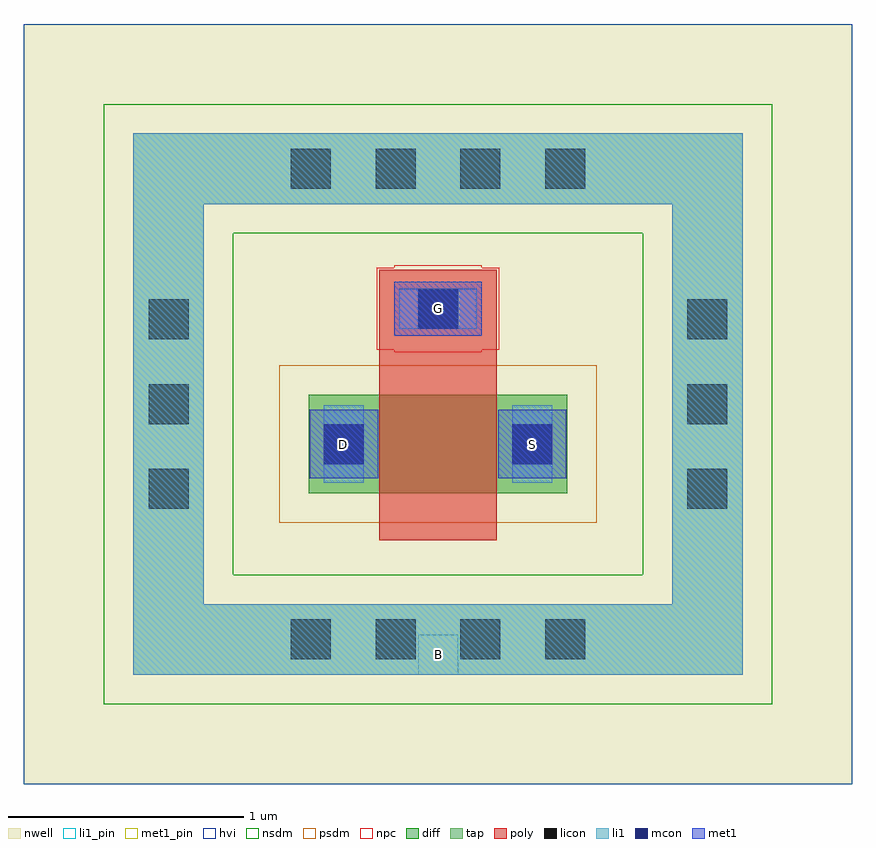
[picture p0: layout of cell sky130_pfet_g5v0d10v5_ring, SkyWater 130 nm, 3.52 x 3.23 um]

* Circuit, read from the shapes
.subckt sky130_pfet_g5v0d10v5_ring B D G S
XM1 S G D B sky130_fd_pr__pfet_g5v0d10v5 w=0.42 l=0.5
.ends

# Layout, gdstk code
import gdstk
lib = gdstk.Library(unit=1e-6, precision=1e-09)
def R(c, l, rs):  # rectangles x0, y0, x1, y1
    for r in rs: c.add(gdstk.rectangle(r[:2], r[2:], *l))
def A(c, l, x, y, w, h, nx, ny, dx, dy):  # array of equal rectangles
    R(c, l, [(x+i*dx, y+j*dy, x+i*dx+w, y+j*dy+h) for i in range(nx) for j in range(ny)])
def P(c, l, *ps):  # polygons
    for p in ps: c.add(gdstk.Polygon(p, *l))
nwell = (64, 20)
diff = (65, 20)
tap = (65, 44)
poly = (66, 20)
licon = (66, 44)
li1_pin = (67, 16)
li1 = (67, 20)
mcon = (67, 44)
met1_pin = (68, 16)
met1 = (68, 20)
hvi = (75, 20)
nsdm = (93, 44)
psdm = (94, 20)
npc = (95, 20)

pfet = lib.new_cell('pfet')
R(pfet, nwell, [(-1.21,-1.235,2.31,1.995)])
R(pfet, diff, [(0,0,1.1,0.42)])
P(pfet, tap, [(-0.745,-0.77),(-0.745,1.23),(-0.445,1.23),(-0.445,-0.47),(1.545,-0.47),(1.545,1.23),(-0.745,1.23),(-0.745,1.53),(1.845,1.53),(1.845,-0.77)])
R(pfet, poly, [(0.3,-0.2,0.8,0.62), (0.3,0.62,0.8,0.95)])
A(pfet, licon, -0.075, -0.705, 0.17, 0.17, 4, 2, 0.36, 2)
A(pfet, licon, -0.68, -0.065, 0.17, 0.17, 1, 3, 0, 0.36)
A(pfet, licon, 1.61, -0.065, 0.17, 0.17, 1, 3, 0, 0.36)
R(pfet, licon, [(0.065,0.125,0.235,0.295), (0.865,0.125,1.035,0.295), (0.465,0.7,0.635,0.87)])
R(pfet, li1, [(0.065,0.045,0.235,0.375), (0.865,0.045,1.035,0.375), (0.385,0.7,0.715,0.87)])
P(pfet, li1, [(-0.745,-0.77),(-0.745,1.23),(-0.445,1.23),(-0.445,-0.47),(1.545,-0.47),(1.545,1.23),(-0.745,1.23),(-0.745,1.53),(1.845,1.53),(1.845,-0.77)])
R(pfet, mcon, [(0.065,0.125,0.235,0.295), (0.865,0.125,1.035,0.295), (0.465,0.7,0.635,0.87)])
R(pfet, met1, [(0.005,0.065,0.295,0.355), (0.805,0.065,1.095,0.355), (0.365,0.67,0.735,0.9)])
R(pfet, hvi, [(-1.21,-1.235,2.31,1.995)])
P(pfet, nsdm, [(-0.87,-0.895),(-0.87,1.105),(-0.32,1.105),(-0.32,-0.345),(1.42,-0.345),(1.42,1.105),(-0.87,1.105),(-0.87,1.655),(1.97,1.655),(1.97,-0.895)])
R(pfet, psdm, [(-0.125,-0.125,1.225,0.545)])
R(pfet, npc, [(0.29,0.61,0.81,0.96)])

sky130_pfet_g5v0d10v5_ri = lib.new_cell('sky130_pfet_g5v0d10v5_ring')
R(sky130_pfet_g5v0d10v5_ri, li1_pin, [(0.465,-0.77,0.635,-0.6)])
R(sky130_pfet_g5v0d10v5_ri, met1_pin, [(0.065,0.125,0.235,0.295), (0.865,0.125,1.035,0.295), (0.465,0.7,0.635,0.87)])
R(sky130_pfet_g5v0d10v5_ri, npc, [(0.365,0.6,0.735,0.97)])
sky130_pfet_g5v0d10v5_ri.add(gdstk.Reference(pfet, (0,0)))
sky130_pfet_g5v0d10v5_ri.add(gdstk.Label('D', (0.15,0.21), layer=68, texttype=5))
sky130_pfet_g5v0d10v5_ri.add(gdstk.Label('S', (0.95,0.21), layer=68, texttype=5))
sky130_pfet_g5v0d10v5_ri.add(gdstk.Label('G', (0.55,0.785), layer=68, texttype=5))
sky130_pfet_g5v0d10v5_ri.add(gdstk.Label('B', (0.55,-0.685), layer=67, texttype=5))

lib.write_gds('sky130_pfet_g5v0d10v5_ring.gds')
